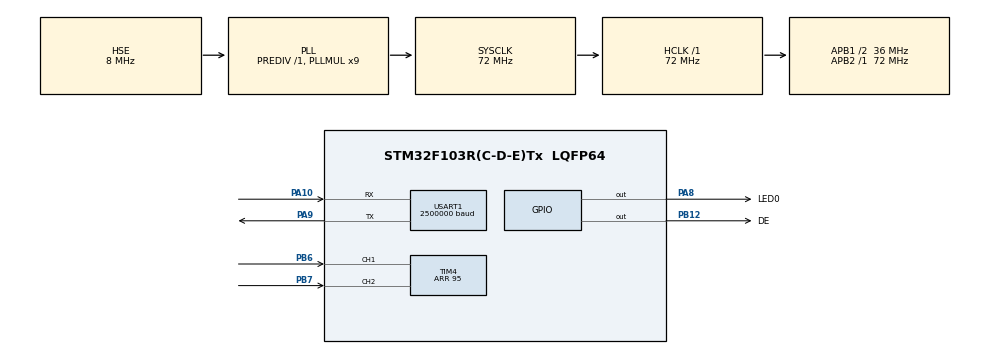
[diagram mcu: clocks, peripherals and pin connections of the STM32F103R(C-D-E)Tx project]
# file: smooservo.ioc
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Dma.Request0=USART1_RX
Dma.Request1=USART1_TX
Dma.USART1_RX.0.Direction=DMA_PERIPH_TO_MEMORY
Dma.USART1_RX.0.Instance=DMA1_Channel5
Dma.USART1_RX.0.MemDataAlignment=DMA_MDATAALIGN_BYTE
Dma.USART1_RX.0.MemInc=DMA_MINC_ENABLE
Dma.USART1_RX.0.Mode=DMA_NORMAL
Dma.USART1_RX.0.PeriphDataAlignment=DMA_PDATAALIGN_BYTE
Dma.USART1_RX.0.PeriphInc=DMA_PINC_DISABLE
Dma.USART1_RX.0.Priority=DMA_PRIORITY_LOW
Dma.USART1_TX.1.Direction=DMA_MEMORY_TO_PERIPH
Dma.USART1_TX.1.Instance=DMA1_Channel4
Dma.USART1_TX.1.MemDataAlignment=DMA_MDATAALIGN_BYTE
Dma.USART1_TX.1.MemInc=DMA_MINC_ENABLE
Dma.USART1_TX.1.Mode=DMA_NORMAL
Dma.USART1_TX.1.PeriphDataAlignment=DMA_PDATAALIGN_BYTE
Dma.USART1_TX.1.PeriphInc=DMA_PINC_DISABLE
Dma.USART1_TX.1.Priority=DMA_PRIORITY_LOW
Mcu.Family=STM32F1
Mcu.Name=STM32F103R(C-D-E)Tx
Mcu.Package=LQFP64
NVIC.DMA1_Channel4_IRQn=true\:0\:0\:false\:false\:true\:false\:true
NVIC.DMA1_Channel5_IRQn=true\:0\:0\:false\:false\:true\:false\:true
NVIC.PriorityGroup=NVIC_PRIORITYGROUP_4
NVIC.USART1_IRQn=true\:0\:0\:false\:false\:true\:true\:true
PA10.Mode=Asynchronous
PA10.Signal=USART1_RX
PA13.Mode=Trace_Asynchronous_SW
PA13.Signal=SYS_JTMS-SWDIO
PA14.Mode=Trace_Asynchronous_SW
PA14.Signal=SYS_JTCK-SWCLK
PA8.GPIO_Label=LED0
PA8.Signal=GPIO_Output
PA9.Mode=Asynchronous
PA9.Signal=USART1_TX
PB12.GPIO_Label=DE
PB12.GPIO_Speed=GPIO_SPEED_FREQ_HIGH
PB12.PinState=GPIO_PIN_RESET
PB12.Signal=GPIO_Output
PB3.Mode=Trace_Asynchronous_SW
PB3.Signal=SYS_JTDO-TRACESWO
PB6.GPIO_PuPd=GPIO_PULLUP
PB6.Signal=S_TIM4_CH1
PB7.GPIO_PuPd=GPIO_PULLUP
PB7.Signal=S_TIM4_CH2
PC14-OSC32_IN.Mode=LSE-External-Oscillator
PC14-OSC32_IN.Signal=RCC_OSC32_IN
PC15-OSC32_OUT.Mode=LSE-External-Oscillator
PC15-OSC32_OUT.Signal=RCC_OSC32_OUT
PD0-OSC_IN.Mode=HSE-External-Oscillator
PD0-OSC_IN.Signal=RCC_OSC_IN
PD1-OSC_OUT.Mode=HSE-External-Oscillator
PD1-OSC_OUT.Signal=RCC_OSC_OUT
ProjectManager.HeapSize=0x200
ProjectManager.StackSize=0x400
ProjectManager.TargetToolchain=Makefile
RCC.AHBFreq_Value=72000000
RCC.APB1CLKDivider=RCC_HCLK_DIV2
RCC.APB1Freq_Value=36000000
RCC.APB1TimFreq_Value=72000000
RCC.APB2Freq_Value=72000000
RCC.APB2TimFreq_Value=72000000
RCC.HCLKFreq_Value=72000000
RCC.PLLMUL=RCC_PLL_MUL9
RCC.PLLSourceVirtual=RCC_PLLSOURCE_HSE
RCC.SYSCLKFreq_VALUE=72000000
RCC.SYSCLKSource=RCC_SYSCLKSOURCE_PLLCLK
RCC.USBFreq_Value=48000000
RCC.USBPrescaler=RCC_USBCLKSOURCE_PLL_DIV1_5
SH.S_TIM4_CH1.0=TIM4_CH1,Encoder_Interface
SH.S_TIM4_CH2.0=TIM4_CH2,Encoder_Interface
TIM4.EncoderMode=TIM_ENCODERMODE_TI12
TIM4.IC1Filter=5
TIM4.IC1Polarity=TIM_ICPOLARITY_FALLING
TIM4.IC2Filter=5
TIM4.IC2Polarity=TIM_ICPOLARITY_FALLING
TIM4.Period=95
USART1.BaudRate=2500000
USART1.Mode=MODE_TX_RX
USART1.VirtualMode=VM_ASYNC
USART1.WordLength=WORDLENGTH_9B
VP_CRC_VS_CRC.Mode=CRC_Activate
board=custom

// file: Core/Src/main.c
/* USER CODE BEGIN Header */
/**
  ******************************************************************************
  * @file           : main.c
  * @brief          : Main program body
  ******************************************************************************
  * @attention
  *
  * <h2><center>&copy; Copyright (c) 2020 STMicroelectronics.
  * All rights reserved.</center></h2>
  *
  * This software component is licensed by ST under Ultimate Liberty license
  * SLA0044, the "License"; You may not use this file except in compliance with
  * the License. You may obtain a copy of the License at:
  *                             www.st.com/SLA0044
  *
  ******************************************************************************
  */
/* USER CODE END Header */
#include "main.h"

/* USER CODE BEGIN PD */
#define COUNTOF(__BUFFER__)   (sizeof(__BUFFER__) / sizeof(*(__BUFFER__)))
#define BUFFERSIZE 256

/* USER CODE END PD */

CRC_HandleTypeDef hcrc;

TIM_HandleTypeDef htim4;

UART_HandleTypeDef huart1;
DMA_HandleTypeDef hdma_usart1_rx;
DMA_HandleTypeDef hdma_usart1_tx;

/* USER CODE BEGIN PV */

__IO ITStatus Uart1Ready = RESET;

uint8_t aTxBufferPos = 0;
uint8_t aTxBuffer[256];

//uint8_t aRxBufferPos = 0;
//uint8_t aRxBuffer[BUFFERSIZE];

struct MBCmds {
   uint8_t  cmdlen;
   uint8_t  cmd[256];
};

struct MBCmds mbcmds[10] = {
    {1, {0x53}},                      //TEST TAMAGAWA
};

struct tmgw_struc {
   uint8_t cf;
   uint8_t sf;
   uint8_t d0;
   uint8_t d1;
   uint8_t d2;
   uint8_t d3;
   uint8_t d4;
   uint8_t d5;
   uint8_t d6;
   uint8_t d7;
   uint8_t crc;
   uint8_t len;
   uint8_t received;       //13
};

struct tmgw_struc2 {
    struct tmgw_struc rx;
    struct tmgw_struc tx;
    struct tmgw_struc test;
};

struct tmgw_struc2 tmgw;

int txcnt2 = 0;

__IO uint32_t uwCRCValue = 0;

/* USER CODE END PV */

void SystemClock_Config(void);
static void MX_GPIO_Init(void);
static void MX_DMA_Init(void);
static void MX_USART1_UART_Init(void);
static void MX_CRC_Init(void);
static void MX_TIM4_Init(void);

/* USER CODE BEGIN 0 */

void processTMGWMessage(UART_HandleTypeDef* huart, uint8_t* ptr, int len)
{
    UNUSED(len);
    UNUSED(huart);
    UNUSED(ptr);
    printf("asdf\r\n");
}

void HAL_UART_RxIdleCallback(UART_HandleTypeDef* huart)
{
    BKPT;
    uint16_t rxXferCount = 0;

    //
    if( (huart->hdmarx != NULL) && (huart->Instance == USART1) )
    {

        HAL_GPIO_WritePin(DE_GPIO_Port, DE_Pin, GPIO_PIN_SET);          //debug only

        __HAL_UART_CLEAR_IDLEFLAG(huart);
        __HAL_UART_ENABLE_IT(huart, UART_IT_TXE);

//        HAL_UART_DMAStop(huart);
//        HAL_UART_Abort(huart);

        DMA_HandleTypeDef *hdma = huart->hdmarx;

        /* Determine how many items of data have been received */

        rxXferCount = huart->RxXferSize - __HAL_DMA_GET_COUNTER(hdma);
//        aRxBufferPos = rxXferCount;
        tmgw.rx.len = rxXferCount;

        huart->RxXferCount = 0;

        /* Check if a transmit process is ongoing or not */

        if(huart->gState == HAL_UART_STATE_BUSY_TX_RX)
        {
            huart->gState = HAL_UART_STATE_BUSY_TX;
        }
        else
        {
            huart->gState = HAL_UART_STATE_READY;
        }

//        printf("CF2:0x%02x %02d\r\n", tmgw.rx.cf, tmgw.rx.len);

        tmgw.rx.received = 1;

        HAL_GPIO_WritePin(DE_GPIO_Port, DE_Pin, GPIO_PIN_RESET);          //debug only

        return;
    }

    return;
}

void startReceive()
{
    memset(&tmgw.rx, 0, sizeof(tmgw.rx));
    HAL_UART_Receive_DMA(&huart1, (uint8_t *)&tmgw.rx, 1);
}

void HAL_UART_RxCpltCallback(UART_HandleTypeDef *huart)
{
    if (huart->Instance == USART1)
    {
        HAL_GPIO_WritePin(DE_GPIO_Port, DE_Pin, GPIO_PIN_SET);          //debug only
//        printf("R2%02x\n", tmgw.rx.cf);
        HAL_GPIO_WritePin(DE_GPIO_Port, DE_Pin, GPIO_PIN_RESET);          //debug only
        startReceive();
        tmgw.rx.received = 1;
    }
}

void HAL_UART_TxCpltCallback(UART_HandleTypeDef *huart)
{
    if (huart->Instance == USART1)
    {
        /* Set transmission flag: transfer complete */
        Uart1Ready = SET;
        HAL_GPIO_WritePin(DE_GPIO_Port, DE_Pin, GPIO_PIN_RESET);
    }
    txcnt2++;
}

void configure_tracing()
{
    /* STM32 specific configuration to enable the TRACESWO IO pin */
    RCC->APB2ENR |= RCC_APB2ENR_AFIOEN;
    AFIO->MAPR |= (2 << 24); // Disable JTAG to release TRACESWO
    DBGMCU->CR |= DBGMCU_CR_TRACE_IOEN; // Enable IO trace pins

    if (!(DBGMCU->CR & DBGMCU_CR_TRACE_IOEN))
    {
        // Some (all?) STM32s don't allow writes to DBGMCU register until
        // C_DEBUGEN in CoreDebug->DHCSR is set. This cannot be set by the
        // CPU itself, so in practice you need to connect to the CPU with
        // a debugger once before resetting it.
        return;
    }

    /* Configure Trace Port Interface Unit */
    CoreDebug->DEMCR |= CoreDebug_DEMCR_TRCENA_Msk; // Enable access to registers
    TPI->ACPR = 0; // Trace clock = HCLK/(x+1) = 8MHz = UART 's baudrate
                   // The HCLK of F105 is 8MHz so x is 0, and the F103 is 72MHz so x is 8
    TPI->SPPR = 2; // Pin protocol = NRZ/USART
    TPI->FFCR = 0x102; // TPIU packet framing enabled when bit 2 is set.
                       // You can use 0x100 if you only need DWT/ITM and not ETM.

    /* Configure PC sampling and exception trace  */
    DWT->CTRL = (1 << DWT_CTRL_CYCTAP_Pos) // Prescaler for PC sampling
                                           // 0 = x32, 1 = x512
              | (0 << DWT_CTRL_POSTPRESET_Pos) // Postscaler for PC sampling
                                               // Divider = value + 1
              | (1 << DWT_CTRL_PCSAMPLENA_Pos) // Enable PC sampling
              | (2 << DWT_CTRL_SYNCTAP_Pos)    // Sync packet interval
                                               // 0 = Off, 1 = Every 2^23 cycles,
                                               // 2 = Every 2^25, 3 = Every 2^27
              | (1 << DWT_CTRL_EXCTRCENA_Pos)  // Enable exception trace
              | (1 << DWT_CTRL_CYCCNTENA_Pos); // Enable cycle counter

    /* Configure instrumentation trace macroblock */
    ITM->LAR = 0xC5ACCE55;
    ITM->TCR = (1 << ITM_TCR_TraceBusID_Pos) // Trace bus ID for TPIU
             | (1 << ITM_TCR_DWTENA_Pos)     // Enable events from DWT
             | (1 << ITM_TCR_SYNCENA_Pos)    // Enable sync packets
             | (1 << ITM_TCR_ITMENA_Pos);    // Main enable for ITM
    ITM->TER = 0xFFFFFFFF; // Enable all stimulus ports
}

void ITM_Init(void)
{
    /* STM32 specific configuration to enable the TRACESWO IO pin */
    RCC->APB2ENR |= RCC_APB2ENR_AFIOEN;
    AFIO->MAPR |= (2 << 24); // Disable JTAG to release TRACESWO
    DBGMCU->CR |= DBGMCU_CR_TRACE_IOEN; // Enable IO trace pins

    TPI->ACPR = 31;  // Output bits at 72000000/(31+1)=2.25MHz.
    TPI->SPPR = 2;   // Use Async mode (1 for RZ/Manchester)
    TPI->FFCR  = 0;   // Disable formatter

    /* Configure instrumentation trace macroblock */
    ITM->LAR = 0xC5ACCE55;
    ITM->TCR = 1 << ITM_TCR_TraceBusID_Pos | ITM_TCR_SYNCENA_Msk |
               ITM_TCR_ITMENA_Msk;
    ITM->TER = 0xFFFFFFFF; // Enable all stimulus ports
}

//
static uint8_t crcCalc(uint8_t* Data, uint8_t Size)
{
  uint8_t j;
  uint8_t Carry;
  uint8_t Crc;

  Crc = 0;

  while (Size-- > 0)
  {
    Crc ^= *Data++;
    for (j = 8; j != 0; j--)
    {
      Carry = Crc & 0x80;
      Crc <<= 1;
      if (Carry != 0)
      {
        Crc ^= 0x01;  /* Polynome X^8 + 1  */
      }
    }
  }
  return (Crc & 0x00FF);
}

//printf on ITM
int __write(int file, char *ptr, int len)
{
    UNUSED(file);
  /* Implement your write code here, this is used by puts and printf for example */
  for(int i=0 ; i<len ; i++) {
//      BKPT;
    ITM_SendChar((*ptr++));
  }
  return len;
}

/* Function to reverse bits of num */
uint8_t reverseBits(uint8_t num)
{
    unsigned int  NO_OF_BITS = sizeof(num) * 8;
    unsigned int reverse_num = 0, i, temp;

    for (i = 0; i < NO_OF_BITS; i++)
    {
        temp = (num & (1 << i));
        if(temp)
            reverse_num |= (1 << ((NO_OF_BITS - 1) - i));
    }

    return reverse_num;
}

void sendmbcmd(uint8_t cmdno)
{
    //check for readiness for transmission
    if ( (huart1.gState == HAL_UART_STATE_READY) )
//    if ((huart1.gState == HAL_UART_STATE_READY) || (huart1.gState == HAL_UART_STATE_BUSY_RX)) //glupavo. na rs485 sme i se machkame sami po vreme na priemane
    {
        tmgw.rx.received = 0;

        tmgw.tx.cf = 0b01010010;
        tmgw.tx.sf = 0x0c ;
        tmgw.tx.d0 = 0x17;

    //    tmgw.tx.d1 = 0x40;
    //    tmgw.tx.d2 = 0x88;

        tmgw.tx.len = 4;            //+1 for crc

        tmgw.test.len = tmgw.tx.len;
    //    tmgw.test.cf = reverseBits(tmgw.tx.cf);
    //    tmgw.test.sf = reverseBits(tmgw.tx.sf);
    //    tmgw.test.d0 = reverseBits(tmgw.tx.d0);
    //    tmgw.test.d1 = reverseBits(tmgw.tx.d1);
    //    tmgw.test.d2 = reverseBits(tmgw.tx.d2);

        tmgw.test.cf = (tmgw.tx.cf);
        tmgw.test.sf = (tmgw.tx.sf);
        tmgw.test.d0 = (tmgw.tx.d0);
        tmgw.test.d1 = (tmgw.tx.d1);
        tmgw.test.d2 = (tmgw.tx.d2);

    //    //FIXED CRC CALCS.... FIXME
    //    uwCRCValue = HAL_CRC_Accumulate(&hcrc, (uint32_t *)&tmgw.tx, tmgw.tx.len);
    //    tmgw.tx.d3 = crc8x_fast(0xff, &tmgw.test, tmgw.test.len-1);
    //    tmgw.tx.d3  = reverseBits(0x1d);
        tmgw.tx.d1 = crcCalc(&tmgw.test.cf, tmgw.test.len-1);

        HAL_StatusTypeDef stat = HAL_ERROR;
        HAL_GPIO_WritePin(DE_GPIO_Port, DE_Pin, GPIO_PIN_SET);

        stat = HAL_UART_Transmit_DMA(&huart1, (uint8_t*)&tmgw.tx, tmgw.tx.len);         // W/O

        if(stat != HAL_OK)
        {
          Error_Handler();
        }

        /*## Wait for the end of the transfer ################################### zashtooo ?*/
        printf("CRC1:0x%04x", tmgw.tx.d1);
        while (Uart1Ready != SET)
        {
        }
    }
}

/* USER CODE END 0 */

int main(void)
{
  /* USER CODE BEGIN 1 */

//    HAL_DBGMCU_EnableDBGStopMode();
//    HAL_DBGMCU_DisableDBGStopMode();

  /* USER CODE END 1 */

  /* MCU Configuration--------------------------------------------------------*/

  /* Reset of all peripherals, Initializes the Flash interface and the Systick. */
  HAL_Init();

  /* Configure the system clock */
  SystemClock_Config();

  /* USER CODE BEGIN SysInit */

  ITM_Init();
//  configure_tracing();

  /* USER CODE END SysInit */

  /* Initialize all configured peripherals */
  MX_GPIO_Init();
  MX_DMA_Init();
  MX_USART1_UART_Init();
  MX_CRC_Init();
  MX_TIM4_Init();
  /* USER CODE BEGIN 2 */

//  HAL_Delay(200);

  printf("BOOT\n");

  /* USER CODE END 2 */

  /* Infinite loop */
  /* USER CODE BEGIN WHILE */

  int cnt = 0;
  int txcnt = 0;

  while (1)
  {
      //tuka ako niamame zabaviane se uebava... da vidim kyde tochno
      if ( (cnt % 130067) == 1) {
          printf("%04d\n", cnt);
      }
      cnt++;
//      printf("DE:%04x\n", tmgw.rx.received);
//      printf("DF:%04x\n", tmgw.rx.cf);
//      BKPT;
//      if ( (tmgw.rx.received == 1) && (tmgw.rx.cf == 0x52) ) {
//          sendmbcmd(0);
////          printf("TX:%04d %04d\r\n", txcnt++, txcnt2);
//      }
      //poluchavame received na nulichki
//      if ( (tmgw.rx.received == 1) && (tmgw.rx.cf != 0x52) ) {
//          printf("RX:%02x\n", tmgw.rx.cf);
//      }
      startReceive();
    /* USER CODE END WHILE */

  }
}

void SystemClock_Config(void)
{
  RCC_OscInitTypeDef RCC_OscInitStruct = {0};
  RCC_ClkInitTypeDef RCC_ClkInitStruct = {0};

  /** Initializes the RCC Oscillators according to the specified parameters
  * in the RCC_OscInitTypeDef structure.
  */
  RCC_OscInitStruct.OscillatorType = RCC_OSCILLATORTYPE_HSE;
  RCC_OscInitStruct.HSEState = RCC_HSE_ON;
  RCC_OscInitStruct.HSEPredivValue = RCC_HSE_PREDIV_DIV1;
  RCC_OscInitStruct.HSIState = RCC_HSI_ON;
  RCC_OscInitStruct.PLL.PLLState = RCC_PLL_ON;
  RCC_OscInitStruct.PLL.PLLSource = RCC_PLLSOURCE_HSE;
  RCC_OscInitStruct.PLL.PLLMUL = RCC_PLL_MUL9;
  if (HAL_RCC_OscConfig(&RCC_OscInitStruct) != HAL_OK)
  {
    Error_Handler();
  }
  /** Initializes the CPU, AHB and APB buses clocks
  */
  RCC_ClkInitStruct.ClockType = RCC_CLOCKTYPE_HCLK|RCC_CLOCKTYPE_SYSCLK
                              |RCC_CLOCKTYPE_PCLK1|RCC_CLOCKTYPE_PCLK2;
  RCC_ClkInitStruct.SYSCLKSource = RCC_SYSCLKSOURCE_PLLCLK;
  RCC_ClkInitStruct.AHBCLKDivider = RCC_SYSCLK_DIV1;
  RCC_ClkInitStruct.APB1CLKDivider = RCC_HCLK_DIV2;
  RCC_ClkInitStruct.APB2CLKDivider = RCC_HCLK_DIV1;

  if (HAL_RCC_ClockConfig(&RCC_ClkInitStruct, FLASH_LATENCY_2) != HAL_OK)
  {
    Error_Handler();
  }
}

static void MX_CRC_Init(void)
{

  hcrc.Instance = CRC;
  if (HAL_CRC_Init(&hcrc) != HAL_OK)
  {
    Error_Handler();
  }

}

static void MX_TIM4_Init(void)
{

  TIM_Encoder_InitTypeDef sConfig = {0};
  TIM_MasterConfigTypeDef sMasterConfig = {0};

  htim4.Instance = TIM4;
  htim4.Init.Prescaler = 0;
  htim4.Init.CounterMode = TIM_COUNTERMODE_UP;
  htim4.Init.Period = 95;
  htim4.Init.ClockDivision = TIM_CLOCKDIVISION_DIV1;
  htim4.Init.AutoReloadPreload = TIM_AUTORELOAD_PRELOAD_DISABLE;
  sConfig.EncoderMode = TIM_ENCODERMODE_TI12;
  sConfig.IC1Polarity = TIM_ICPOLARITY_FALLING;
  sConfig.IC1Selection = TIM_ICSELECTION_DIRECTTI;
  sConfig.IC1Prescaler = TIM_ICPSC_DIV1;
  sConfig.IC1Filter = 5;
  sConfig.IC2Polarity = TIM_ICPOLARITY_FALLING;
  sConfig.IC2Selection = TIM_ICSELECTION_DIRECTTI;
  sConfig.IC2Prescaler = TIM_ICPSC_DIV1;
  sConfig.IC2Filter = 5;
  if (HAL_TIM_Encoder_Init(&htim4, &sConfig) != HAL_OK)
  {
    Error_Handler();
  }
  sMasterConfig.MasterOutputTrigger = TIM_TRGO_RESET;
  sMasterConfig.MasterSlaveMode = TIM_MASTERSLAVEMODE_DISABLE;
  if (HAL_TIMEx_MasterConfigSynchronization(&htim4, &sMasterConfig) != HAL_OK)
  {
    Error_Handler();
  }

}

static void MX_USART1_UART_Init(void)
{

  huart1.Instance = USART1;
  huart1.Init.BaudRate = 2500000;
//  huart1.Init.BaudRate = 115200;
  huart1.Init.WordLength = UART_WORDLENGTH_8B;
  huart1.Init.StopBits = UART_STOPBITS_1;
  huart1.Init.Parity = UART_PARITY_NONE;
  huart1.Init.Mode = UART_MODE_TX_RX;
  huart1.Init.HwFlowCtl = UART_HWCONTROL_NONE;
  huart1.Init.OverSampling = UART_OVERSAMPLING_16;
  if (HAL_UART_Init(&huart1) != HAL_OK)
  {
    Error_Handler();
  }
  /* USER CODE BEGIN USART1_Init 2 */

//  //Activate RX Idle callback.
//  __HAL_UART_CLEAR_IDLEFLAG(&huart1);
//  __HAL_UART_ENABLE_IT(&huart1, UART_IT_IDLE);

  //Activate UART DMA for receive
  startReceive();
  /* USER CODE END USART1_Init 2 */

}

static void MX_DMA_Init(void)
{

  /* DMA controller clock enable */
  __HAL_RCC_DMA1_CLK_ENABLE();

  /* DMA interrupt init */
  /* DMA1_Channel4_IRQn interrupt configuration */
  HAL_NVIC_SetPriority(DMA1_Channel4_IRQn, 0, 0);
  HAL_NVIC_EnableIRQ(DMA1_Channel4_IRQn);
  /* DMA1_Channel5_IRQn interrupt configuration */
  HAL_NVIC_SetPriority(DMA1_Channel5_IRQn, 0, 0);
  HAL_NVIC_EnableIRQ(DMA1_Channel5_IRQn);

}

static void MX_GPIO_Init(void)
{
  GPIO_InitTypeDef GPIO_InitStruct = {0};

  /* GPIO Ports Clock Enable */
  __HAL_RCC_GPIOC_CLK_ENABLE();
  __HAL_RCC_GPIOD_CLK_ENABLE();
  __HAL_RCC_GPIOB_CLK_ENABLE();
  __HAL_RCC_GPIOA_CLK_ENABLE();

  /*Configure GPIO pin Output Level */
  HAL_GPIO_WritePin(DE_GPIO_Port, DE_Pin, GPIO_PIN_RESET);

  /*Configure GPIO pin Output Level */
  HAL_GPIO_WritePin(LED0_GPIO_Port, LED0_Pin, GPIO_PIN_RESET);

  /*Configure GPIO pin : DE_Pin */
  GPIO_InitStruct.Pin = DE_Pin;
  GPIO_InitStruct.Mode = GPIO_MODE_OUTPUT_PP;
  GPIO_InitStruct.Pull = GPIO_PULLUP;
  GPIO_InitStruct.Speed = GPIO_SPEED_FREQ_HIGH;
  HAL_GPIO_Init(DE_GPIO_Port, &GPIO_InitStruct);

  /*Configure GPIO pin : LED0_Pin */
  GPIO_InitStruct.Pin = LED0_Pin;
  GPIO_InitStruct.Mode = GPIO_MODE_OUTPUT_PP;
  GPIO_InitStruct.Pull = GPIO_NOPULL;
  GPIO_InitStruct.Speed = GPIO_SPEED_FREQ_LOW;
  HAL_GPIO_Init(LED0_GPIO_Port, &GPIO_InitStruct);

}

void Error_Handler(void)
{
  /* USER CODE BEGIN Error_Handler_Debug */
  /* User can add his own implementation to report the HAL error return state */

    BKPT;

//  printf("HAL ERROR!!!");

  while (1) {
    HAL_GPIO_TogglePin(LED0_GPIO_Port, LED0_Pin);
    HAL_Delay(100);
  }

  /* USER CODE END Error_Handler_Debug */
}

/************************ (C) COPYRIGHT STMicroelectronics *****END OF FILE****/
